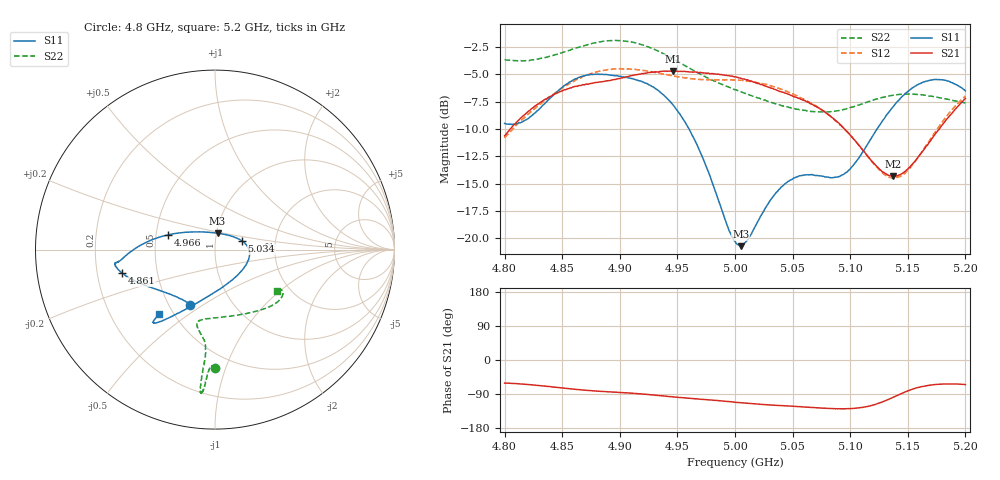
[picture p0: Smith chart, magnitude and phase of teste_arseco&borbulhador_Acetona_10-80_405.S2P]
! Network Analyzer HP8722D
! Hewlett-Packard
! Data name: Linha & Wilkinson
! Saver's name: Rodrigo Anjos
! Comments: Teste da utilização de aquisição
! continua pelo VNA HP8722D
! Time and date: 17/4/2025 17:44
!  Frequency  S11  S21  S12  S22
# HZ  S  MA R 50
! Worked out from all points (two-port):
!   401 points, 4.8 GHz to 5.2 GHz, reference 50 ohm
!   highest |S21| = -4.69 dB at 4.946 GHz (marker M1); lowest = -14.4 dB at 5.137 GHz (marker M2)
!   |S21| within 3 dB of the highest: 4.829 GHz to 5.066 GHz (236.2 MHz wide, 4.77 % of centre); 5.195485 GHz to end of sweep
!   lowest |S11| = -20.7 dB at 5.005 GHz (marker M3), VSWR 1.20, Z = 50.6 + j9.25 ohm
!   |S11| at or under -10 dB: 4.96 GHz to 5.123 GHz (163.2 MHz wide, 3.24 % of centre)
!   |S22| runs from -8.5 to -1.9 dB; largest |S21 - S12| = 0.87
!   S11 on the Smith chart (normalised r, x): 4.8 GHz: 0.64, -0.44; 4.861 GHz: 0.31, -0.11; 4.966 GHz: 0.58, +0.10; 5.034 GHz: 1.34, +0.14; 5.2 GHz: 0.42, -0.39
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4.8e9  0.3351 -114.1  0.294 -60.9  0.2877 -175.1  0.6574 -90.2
4.819e9  0.3495 -133.9  0.3742 -64.4  0.363 -174.0  0.6504 -91.9
4.861e9  0.5351 -165.8  0.4952 -77.3  0.5267 -177.1  0.7392 -94.2
4.867e9  0.5505 -168.2  0.502 -79.1  0.5457 -178.3  0.755 -94.3
4.899e9  0.5511 -172.6  0.5374 -85.5  0.5968 175.1  0.803 -95.6
4.934e9  0.4719 -178.5  0.5776 -93.9  0.571 171.5  0.7149 -96.0
4.946e9  0.4088 176.1  0.5829 -97.2  0.5525 171.8  0.664 -95.7
4.966e9  0.2747 162.7  0.5761 -102.3  0.5348 173.6  0.5782 -95.1
5e9  0.09674 99.4  0.5484 -111.5  0.5298 175.9  0.4784 -99.2
5.005e9  0.0918 81.3  0.5401 -112.8  0.528 175.8  0.4677 -100.5
5.012e9  0.09966 57.7  0.5265 -114.5  0.5227 175.7  0.4539 -101.8
5.034e9  0.1573 18.2  0.4805 -119.4  0.4935 174.5  0.4146 -103.3
5.05e9  0.1865 2.3  0.4476 -122.1  0.4577 173.9  0.3941 -99.1
5.067e9  0.1953 -16.1  0.4104 -125.3  0.4121 173.4  0.3803 -90.4
5.085e9  0.1891 -44.5  0.3546 -128.2  0.3531 173.5  0.3816 -76.7
5.097e9  0.2003 -68.8  0.3081 -128.5  0.3088 174.7  0.3918 -66.9
5.134e9  0.3807 -117.4  0.1933 -102.9  0.1899 -155.8  0.4477 -43.0
5.137e9  0.3989 -119.1  0.1916 -98.8  0.1889 -151.0  0.451 -41.7
5.149e9  0.4647 -124.4  0.2052 -82.6  0.2023 -132.5  0.4565 -37.1
5.168e9  0.5266 -129.1  0.2717 -67.2  0.2757 -113.4  0.4481 -32.5
5.184e9  0.5253 -130.6  0.3519 -63.2  0.3631 -107.4  0.4334 -31.2
5.2e9  0.4725 -130.9  0.4361 -64.7  0.4481 -106.8  0.4156 -33.6
